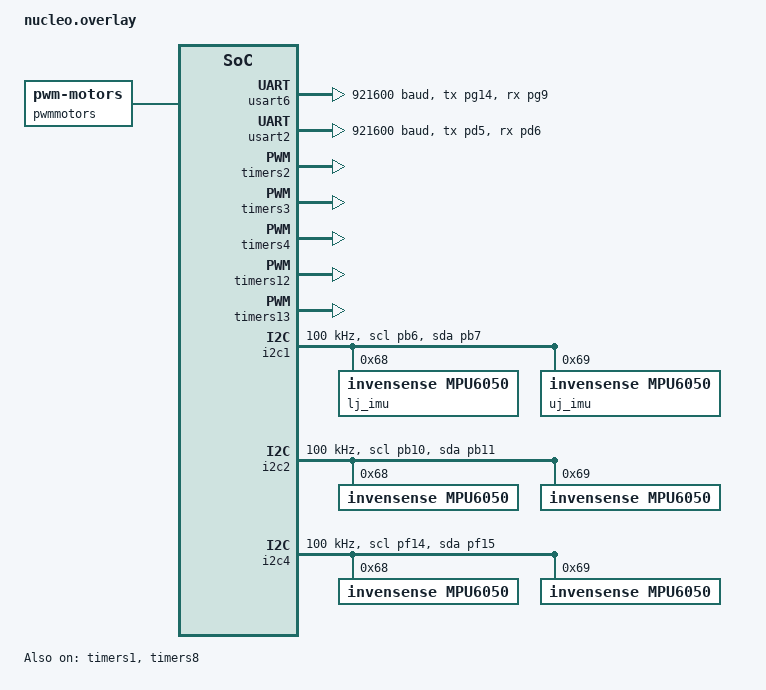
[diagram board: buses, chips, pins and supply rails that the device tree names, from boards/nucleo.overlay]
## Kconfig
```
mainmenu "Mother application"

config TEST_MODE
	bool "Enable test mode"
	default n
	help
	  Enables the test code in mother application.

source "Kconfig.zephyr"
```

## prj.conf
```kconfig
CONFIG_GPIO=y
CONFIG_PRINTK=y
CONFIG_SERIAL=y
CONFIG_I2C=y
CONFIG_SENSOR=y
CONFIG_MPU6050=y
CONFIG_MPU6050_TRIGGER_NONE=y
CONFIG_UART_INTERRUPT_DRIVEN=y
CONFIG_PWM=y
CONFIG_CRC=y

CONFIG_KYVERNITIS=y
CONFIG_CANSCRIBE=y
CONFIG_CANARD=y

CONFIG_CBPRINTF_FP_SUPPORT=y
```

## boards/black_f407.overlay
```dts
/ {
	pwmmotors {
		compatible = "pwm-motors";
		sabertooth1_1: pwm_1 {
			pwms  = <&pwm1 1 PWM_MSEC(20) (PWM_POLARITY_NORMAL)>;
			min-pulse = <PWM_USEC(1100)>;
			max-pulse = <PWM_USEC(1900)>;
		};
		sabertooth1_2: pwm_2 {
			pwms  = <&pwm1 2 PWM_MSEC(20) (PWM_POLARITY_NORMAL)>;
			min-pulse = <PWM_USEC(1100)>;
			max-pulse = <PWM_USEC(1900)>;
		};
		sabertooth3_1: pwm_3 {
			pwms  = <&pwm1 3 PWM_MSEC(20) (PWM_POLARITY_NORMAL)>;
			min-pulse = <PWM_USEC(1100)>;
			max-pulse = <PWM_USEC(1900)>;
		};
		sabertooth3_2: pwm_4 {
			pwms  = <&pwm1 4 PWM_MSEC(20) (PWM_POLARITY_NORMAL)>;
			min-pulse = <PWM_USEC(1100)>;
			max-pulse = <PWM_USEC(1900)>;
		};
		cytron1_1: pwm_5 {
			pwms  = <&pwm2 1 PWM_MSEC(20) (PWM_POLARITY_NORMAL)>;
			min-pulse = <PWM_USEC(1100)>;
			max-pulse = <PWM_USEC(1900)>;
		};
		cytron1_2: pwm_6 {
			pwms  = <&pwm2 2 PWM_MSEC(20) (PWM_POLARITY_NORMAL)>;
			min-pulse = <PWM_USEC(1100)>;
			max-pulse = <PWM_USEC(1900)>;
		};
		cytron3_1: pwm_7 {
			pwms  = <&pwm2 3 PWM_MSEC(20) (PWM_POLARITY_NORMAL)>;
			min-pulse = <PWM_USEC(1100)>;
			max-pulse = <PWM_USEC(1900)>;
		};
		cytron3_2: pwm_8 {
			pwms  = <&pwm2 4 PWM_MSEC(20) (PWM_POLARITY_NORMAL)>;
			min-pulse = <PWM_USEC(1100)>;
			max-pulse = <PWM_USEC(1900)>;
		};
		servo_1: pwm_9 {
			pwms  = <&pwm10 1 PWM_MSEC(20) (PWM_POLARITY_NORMAL)>;
			min-pulse = <PWM_USEC(1100)>;
			max-pulse = <PWM_USEC(1900)>;
		};
		servo_2: pwm_10 {
			pwms  = <&pwm11 1 PWM_MSEC(20) (PWM_POLARITY_NORMAL)>;
			min-pulse = <PWM_USEC(1100)>;
			max-pulse = <PWM_USEC(1900)>;
		};
		servo_3: pwm_11 {
			pwms  = <&pwm14 1 PWM_MSEC(20) (PWM_POLARITY_NORMAL)>;
			min-pulse = <PWM_USEC(1100)>;
			max-pulse = <PWM_USEC(1900)>;
		};
	};

	aliases {
		mother-uart = &usart2;
		en-fr = &qenc_fr;
		en-fl = &qenc_fl;
		imu-lower-joint = &lj_imu;
		imu-upper-joint = &uj_imu;
	};
};

&usart1 {
	current-speed = <115200>;
};

&usart2 {
	pinctrl-0 = <&usart2_tx_pd5 &usart2_rx_pd6>;
	pinctrl-names = "default";
	current-speed = <115200>;
	status = "okay";
};

&timers1 {
	status = "okay";
	st,prescaler = <3359>;

	pwm1: pwm {
		status = "okay";
		pinctrl-0 = <&tim1_ch1_pe9 &tim1_ch2_pe11 &tim1_ch3_pe13 &tim1_ch4_pe14>;
		pinctrl-names = "default";
	};
};

&timers2 {
	status = "okay";
	st,prescaler = <3359>;

	pwm2: pwm {
		status = "okay";
		pinctrl-0 = <&tim2_ch1_pa5 &tim2_ch2_pa1 &tim2_ch3_pa2 &tim2_ch4_pa3>;
		pinctrl-names = "default";
	};
};

&timers10 {
	status = "okay";
	st,prescaler = <3359>;

	pwm10: pwm {
		status = "okay";
		pinctrl-0 = <&tim10_ch1_pb8>;
		pinctrl-names = "default";
	};
};

&timers11 {
	status = "okay";
	st,prescaler = <3359>;

	pwm11: pwm {
		status = "okay";
		pinctrl-0 = <&tim11_ch1_pb9>;
		pinctrl-names = "default";
	};
};

&timers14 {
	status = "okay";
	st,prescaler = <3359>;

	pwm14: pwm {
		status = "okay";
		pinctrl-0 = <&tim14_ch1_pa7>;
		pinctrl-names = "default";
	};
};

&timers3 {
	status = "okay";
	qenc_fr: qdec {
		compatible = "st,stm32-qdec-distance";
		status = "okay";
		pinctrl-0 = <&tim3_ch1_pc6 &tim3_ch2_pc7>;
		pinctrl-names = "default";
		st,input-polarity-inverted;
		st,input-filter-level = <FDIV32_N5>;
		st,counts-per-revolution = <4706>;
	};
};

&timers4 {
	status = "okay";
	qenc_fl: qdec {
		compatible = "st,stm32-qdec-distance";
		status = "okay";
		pinctrl-0 = <&tim4_ch1_pd12 &tim4_ch2_pd13>;
		pinctrl-names = "default";
		st,input-polarity-inverted;
		st,input-filter-level = <FDIV32_N5>;
		st,counts-per-revolution = <4706>;
	};
};

&i2c1 {
	status = "okay";
	pinctrl-0  = <&i2c1_scl_pb6 &i2c1_sda_pb7>;
	pinctrl-names = "default";
	clock-frequency = <I2C_BITRATE_STANDARD>;
	lj_imu: mpu6050@68 {
		compatible = "invensense,mpu6050";
		reg = <0x68>;
		status = "okay";
	};
	uj_imu: mpu6050@69 {
		compatible = "invensense,mpu6050";
		reg = <0x69>;
		status = "okay";
	};
};

&i2c2 {
	status = "okay";
	pinctrl-0  = <&i2c2_scl_pb10 &i2c2_sda_pb11>;
	pinctrl-names = "default";
	clock-frequency = <I2C_BITRATE_STANDARD>;
	mpu6050@68 {
		compatible = "invensense,mpu6050";
		reg = <0x68>;
		status = "okay";
	};
	mpu6050@69 {
		compatible = "invensense,mpu6050";
		reg = <0x69>;
		status = "okay";
	};
};
```

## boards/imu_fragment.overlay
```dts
/ {
	chosen {
		// zephyr,console = &usart2;
		// zephyr,shell-uart = &usart2;
	};

	aliases {
		imu-lower-joint = &mpu6050;
	};
};

// &usart2 {
// 	pinctrl-0 = <&usart2_tx_pd5 &usart2_rx_pd6>;
// 	pinctrl-names = "default";
// 	current-speed = <115200>;
// 	status = "okay";
// };

&i2c1 {
	status = "okay";
	pinctrl-0  = <&i2c1_scl_pb6 &i2c1_sda_pb7>;
	pinctrl-names = "default";
	clock-frequency = <I2C_BITRATE_STANDARD>;
	mpu6050: mpu6050@68 {
		compatible = "invensense,mpu6050";
		reg = <0x68>;
		status = "okay";
	};
};

// &i2c2 {
// 	status = "okay";
// 	pinctrl-0  = <&i2c2_scl_pb10 &i2c2_sda_pb11>;
// 	pinctrl-names = "default";
// 	mpu6050: mpu6050@68 {
// 		compatible = "invensense,mpu6050";
// 		reg = <0x68>;
// 		status = "okay";
// 	};
// 	mpu6050@69 {
// 		compatible = "invensense,mpu6050";
// 		reg = <0x69>;
// 		status = "okay";
// 	};
// };
```

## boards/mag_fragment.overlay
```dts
/ {
	aliases {
		magn0 = &bmm150;
	};
};

&i2c1 {
	status = "okay";
	pinctrl-0 = <&i2c1_scl_pb6 &i2c1_sda_pb7>;
	pinctrl-names = "default";
	clock-frequency = <I2C_BITRATE_STANDARD>;
	bmm150: bmm150@1e {
		status = "okay";
		compatible = "bosch,bmm150";
		reg = <0x1e>;		
	};
};
```

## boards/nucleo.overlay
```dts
#include <zephyr/dt-bindings/sensor/qdec_stm32.h>

/ {
	pwmmotors {
		compatible = "pwm-motors";
		sabertooth1_1: pwm_1 {
			pwms  = <&pwm2 1 PWM_MSEC(20) (PWM_POLARITY_NORMAL)>;
			min-pulse = <PWM_USEC(1100)>;
			max-pulse = <PWM_USEC(1900)>;
		};
		sabertooth1_2: pwm_2 {
			pwms  = <&pwm2 2 PWM_MSEC(20) (PWM_POLARITY_NORMAL)>;
			min-pulse = <PWM_USEC(1100)>;
			max-pulse = <PWM_USEC(1900)>;
		};
		sabertooth3_1: pwm_3 {
			pwms  = <&pwm2 3 PWM_MSEC(20) (PWM_POLARITY_NORMAL)>;
			min-pulse = <PWM_USEC(1100)>;
			max-pulse = <PWM_USEC(1900)>;
		};
		sabertooth3_2: pwm_4 {
			pwms  = <&pwm2 4 PWM_MSEC(20) (PWM_POLARITY_NORMAL)>;
			min-pulse = <PWM_USEC(1100)>;
			max-pulse = <PWM_USEC(1900)>;
		};
		cytron1_1: pwm_5 {
			pwms  = <&pwm3 1 PWM_MSEC(20) (PWM_POLARITY_NORMAL)>;
			min-pulse = <PWM_USEC(1100)>;
			max-pulse = <PWM_USEC(1900)>;
		};
		cytron1_2: pwm_6 {
			pwms  = <&pwm3 2 PWM_MSEC(20) (PWM_POLARITY_NORMAL)>;
			min-pulse = <PWM_USEC(1100)>;
			max-pulse = <PWM_USEC(1900)>;
		};
		cytron3_1: pwm_7 {
			pwms  = <&pwm4 1 PWM_MSEC(20) (PWM_POLARITY_NORMAL)>;
			min-pulse = <PWM_USEC(1100)>;
			max-pulse = <PWM_USEC(1900)>;
		};
		cytron3_2: pwm_8 {
			pwms  = <&pwm4 2 PWM_MSEC(20) (PWM_POLARITY_NORMAL)>;
			min-pulse = <PWM_USEC(1100)>;
			max-pulse = <PWM_USEC(1900)>;
		};
		servo_1: pwm_9 {
			pwms  = <&pwm4 3 PWM_MSEC(20) (PWM_POLARITY_NORMAL)>;
			min-pulse = <PWM_USEC(1100)>;
			max-pulse = <PWM_USEC(1900)>;
		};
		servo_2: pwm_10 {
			pwms  = <&pwm4 4 PWM_MSEC(20) (PWM_POLARITY_NORMAL)>;
			min-pulse = <PWM_USEC(1100)>;
			max-pulse = <PWM_USEC(1900)>;
		};
		servo_3: pwm_11 {
			pwms  = <&pwm12 1 PWM_MSEC(20) (PWM_POLARITY_NORMAL)>;
			min-pulse = <PWM_USEC(1100)>;
			max-pulse = <PWM_USEC(1900)>;
		};

		extra_1: pwm_12 {
			pwms = <&pwm12 2 PWM_MSEC(20)  (PWM_POLARITY_NORMAL)>;
			min-pulse = <PWM_USEC(1100)>;
			max-pulse = <PWM_USEC(1900)>;
		};

		extra_2: pwm_13 {
			pwms = <&pwm13 1 PWM_MSEC(20)  (PWM_POLARITY_NORMAL)>;
			min-pulse = <PWM_USEC(1100)>;
			max-pulse = <PWM_USEC(1900)>;
		};
	};

	chosen {
		zephyr,console = &usart6;
		zephyr,shell-uart = &usart6;
	};

	aliases {
		mother-uart = &usart2;
		en-fr = &qenc_fr;
		en-fl = &qenc_fl;
		imu-lower-joint = &lj_imu;
		imu-upper-joint = &uj_imu;
	};
};

&usart6 {
	pinctrl-0 = <&usart6_tx_pg14 &usart6_rx_pg9>;
	pinctrl-names = "default";
	current-speed = <921600>;
	status = "okay";
};

&usart2 {
	pinctrl-0 = <&usart2_tx_pd5 &usart2_rx_pd6>;
	pinctrl-names = "default";
	current-speed = <921600>;
	status = "okay";
};

&timers2 {
	status = "okay";
	st,prescaler = <5599>;

	pwm2: pwm {
		status = "okay";
		pinctrl-0 = <&tim2_ch1_pa0 &tim2_ch2_pa1 &tim2_ch3_pa2 &tim2_ch4_pa3>;
		pinctrl-names = "default";
	};
};

&timers3 {
	status = "okay";
	st,prescaler = <5599>;

	pwm3: pwm {
		status = "okay";
		pinctrl-0 = <&tim3_ch1_pb4 &tim3_ch2_pb5>;
		pinctrl-names = "default";
	};
};

&timers4 {
	status = "okay";
	st,prescaler = <5599>;

	pwm4: pwm {
		status = "okay";
		pinctrl-0 = <&tim4_ch1_pd12 &tim4_ch2_pd13 &tim4_ch3_pd14 &tim4_ch4_pd15>;
		pinctrl-names = "default";
	};
};

&timers12 {
	status = "okay";
	st,prescaler = <5599>;

	pwm12: pwm {
		status = "okay";
		pinctrl-0 = <&tim12_ch1_pb14 &tim12_ch2_pb15>;
		pinctrl-names = "default";
	};
};

&timers13 {
	status = "okay";
	st,prescaler = <5599>;

	pwm13: pwm {
		status = "okay";
		pinctrl-0 = <&tim13_ch1_pa6>;
		pinctrl-names = "default";
	};
};

&timers1 {
	status = "okay";
	qenc_fr: qdec {
		compatible = "st,stm32-qdec-distance";
		status = "okay";
		pinctrl-0 = <&tim1_ch1_pa8 &tim1_ch2_pa9>;
		pinctrl-names = "default";
		st,input-polarity-inverted;
		st,input-filter-level = <FDIV32_N5>;
		st,counts-per-revolution = <4706>;
	};
};

&timers8 {
	status = "okay";
 	qenc_fl: qdec {
 		compatible = "st,stm32-qdec-distance";
 		status = "okay";
 		pinctrl-0 = <&tim8_ch1_pc6 &tim8_ch2_pc7>;
 		pinctrl-names = "default";
 		st,input-polarity-inverted;
 		st,input-filter-level = <FDIV32_N5>;
 		st,counts-per-revolution = <4706>;
 	};
};


&i2c1 {
	status = "okay";
	pinctrl-0  = <&i2c1_scl_pb6 &i2c1_sda_pb7>;
	pinctrl-names = "default";
	clock-frequency = <I2C_BITRATE_STANDARD>;
	lj_imu: mpu6050@68 {
		compatible = "invensense,mpu6050";
		reg = <0x68>;
		status = "okay";
	};
	uj_imu: mpu6050@69 {
		compatible = "invensense,mpu6050";
		reg = <0x69>;
		status = "okay";
	};
};

&i2c2 {
	status = "okay";
	pinctrl-0  = <&i2c2_scl_pb10 &i2c2_sda_pb11>;
	pinctrl-names = "default";
	clock-frequency = <I2C_BITRATE_STANDARD>;
	mpu6050@68 {
		compatible = "invensense,mpu6050";
		reg = <0x68>;
		status = "okay";
	};
	mpu6050@69 {
		compatible = "invensense,mpu6050";
		reg = <0x69>;
		status = "okay";
	};
};

&i2c4 {
	status = "okay";
	pinctrl-0  = <&i2c4_scl_pf14 &i2c4_sda_pf15>;
	pinctrl-names = "default";
	clock-frequency = <I2C_BITRATE_STANDARD>;
	mpu6050@68 {
		compatible = "invensense,mpu6050";
		reg = <0x68>;
		status = "okay";
	};
	mpu6050@69 {
		compatible = "invensense,mpu6050";
		reg = <0x69>;
		status = "okay";
	};
};
```

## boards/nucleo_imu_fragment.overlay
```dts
/ {
	chosen {
		zephyr,console = &usart2;
		zephyr,shell-uart = &usart2;
	};
	
	aliases {
		imu-lower-joint = &mpu6050;
	};
};

&usart2 {
	pinctrl-0 = <&usart2_tx_pd5 &usart2_rx_pd6>;
	pinctrl-names = "default";
	current-speed = <921600>;
	status = "okay";
};

&i2c1 {
	status = "okay";
	pinctrl-0  = <&i2c1_scl_pb6 &i2c1_sda_pb7>;
	pinctrl-names = "default";
	clock-frequency = <I2C_BITRATE_STANDARD>;
	lj_imu: mpu6050@68 {
		compatible = "invensense,mpu6050";
		reg = <0x68>;
		status = "okay";
	};
	uj_imu: mpu6050@69 {
		compatible = "invensense,mpu6050";
		reg = <0x69>;
		status = "okay";
	};
};


&i2c2 {
	status = "okay";
	pinctrl-0  = <&i2c2_scl_pb10 &i2c2_sda_pb11>;
	pinctrl-names = "default";
	clock-frequency = <I2C_BITRATE_STANDARD>;
	mpu6050@68 {
		compatible = "invensense,mpu6050";
		reg = <0x68>;
		status = "okay";
	};
	mpu6050@69 {
		compatible = "invensense,mpu6050";
		reg = <0x69>;
		status = "okay";
	};
};

&i2c4 {
	status = "okay";
	pinctrl-0  = <&i2c4_scl_pf14 &i2c4_sda_pf15>;
	pinctrl-names = "default";
	clock-frequency = <I2C_BITRATE_STANDARD>;
	mpu6050: mpu6050@68 {
		compatible = "invensense,mpu6050";
		reg = <0x68>;
		status = "okay";
	};
};
```

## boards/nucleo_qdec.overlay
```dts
#include <zephyr/dt-bindings/sensor/qdec_stm32.h>

/ {
	pwmmotors {
		compatible = "pwm-motors";
		pwm_motor_1: pwm_1 {
			pwms  = <&pwm2 1 PWM_MSEC(20) (PWM_POLARITY_NORMAL)>;
			min-pulse = <PWM_USEC(1100)>;
			max-pulse = <PWM_USEC(1900)>;
		};
		pwm_motor_2: pwm_2 {
			pwms  = <&pwm2 2 PWM_MSEC(20) (PWM_POLARITY_NORMAL)>;
			min-pulse = <PWM_USEC(1100)>;
			max-pulse = <PWM_USEC(1900)>;
		};
	};

	chosen {
		zephyr,console = &usart2;
		zephyr,shell-uart = &usart2;
	};

	aliases {
		en-fr = &qenc_fr;
		en-fl = &qenc_fl;
	};
};

&usart2 {
	pinctrl-0 = <&usart2_tx_pd5 &usart2_rx_pd6>;
	pinctrl-names = "default";
	current-speed = <921600>;
	status = "okay";
};

&timers2 {
	status = "okay";
	st,prescaler = <5599>;

	pwm2: pwm {
		status = "okay";
		pinctrl-0 = <&tim2_ch1_pa0 &tim2_ch2_pa1 &tim2_ch3_pa2 &tim2_ch4_pa3>;
		pinctrl-names = "default";
	};
};

&timers1 {
	status = "okay";
	qenc_fr: qdec {
		compatible = "st,stm32-qdec-distance";
		status = "okay";
		pinctrl-0 = <&tim1_ch1_pa8 &tim1_ch2_pa9>;
		pinctrl-names = "default";
		st,input-polarity-inverted;
		st,input-filter-level = <FDIV32_N5>; // FDIV32_N5
		st,counts-per-revolution = <4706>;
	};
};

&timers8 {
	status = "okay";
 	qenc_fl: qdec {
 		compatible = "st,stm32-qdec-distance";
 		status = "okay";
 		pinctrl-0 = <&tim8_ch1_pc6 &tim8_ch2_pc7>;
 		pinctrl-names = "default";
 		st,input-polarity-inverted;
 		st,input-filter-level = <FDIV32_N5>;
 		st,counts-per-revolution = <4706>;
 	};
};
```

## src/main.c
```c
/*
 * Source file for R25
 */

#include <zephyr/sys/reboot.h>
#include <zephyr/kernel.h>
#include <zephyr/device.h>
#include <zephyr/devicetree.h>
#include <zephyr/drivers/gpio.h>
#include <zephyr/drivers/sensor.h>
#include <zephyr/sys/crc.h>
#include <zephyr/drivers/uart.h>
#include <app_version.h>
#include <string.h>
#include <canscribe/lib/canscribe.h>
#include <kyvernitis/lib/kyvernitis.h>

/* msg size in relation to cobs serialization */
#define UART_MSG_SIZE (sizeof(struct mother_msg) + 2)

#define PWM_MOTOR_SETUP(pwm_dev_id)                                                                \
	{.dev_spec = PWM_DT_SPEC_GET(pwm_dev_id),                                                  \
	 .min_pulse = DT_PROP(pwm_dev_id, min_pulse),                                              \
	 .max_pulse = DT_PROP(pwm_dev_id, max_pulse)},

/* queue to store uart messages */
K_MSGQ_DEFINE(uart_msgq, sizeof(struct mother_msg), 10, 1);

/* DT spec for uart */
static const struct device *const uart_dev = DEVICE_DT_GET(DT_ALIAS(mother_uart));

/* DT spec for pwm motors */
struct pwm_motor motor[13] = {DT_FOREACH_CHILD(DT_PATH(pwmmotors), PWM_MOTOR_SETUP)};

/* DT spec for encoders */
const struct device *const encoder_fr = DEVICE_DT_GET(DT_ALIAS(en_fr));
const struct device *const encoder_fl = DEVICE_DT_GET(DT_ALIAS(en_fl));

/* DT spec for imus */
const struct device *const lj_imu = DEVICE_DT_GET(DT_ALIAS(imu_lower_joint));
const struct device *const uj_imu = DEVICE_DT_GET(DT_ALIAS(imu_upper_joint));
/* DT spec for LED */
static const struct gpio_dt_spec led = GPIO_DT_SPEC_GET(DT_ALIAS(led0), gpios);

/*---- Global Values and configuration ----*/

/* Timeout message for diff drive */
struct DiffDriveTwist TIMEOUT_CMD = {
	.angular_z = 0,
	.linear_x = 0,
};

/* Velocity and PWM ranges */
float vel_range[] = {-10, 10};
uint32_t pwm_range[] = {1120000, 1880000};
float la_speed_range[] = {0.0, 255.0};
uint32_t pid_pwm_range[] = {1300000, 1700000};
float angle_range[] = {-270, 270};

/* Serial Callback global variables */
static uint8_t rx_buf[UART_MSG_SIZE];
static int rx_buf_pos;
static uint8_t tx_buf[UART_MSG_SIZE];

/* Global ticks for encoders */
int64_t ticks_fr, ticks_fl;
struct mother_msg msg;

void serial_cb(const struct device *dev, void *user_data)
{
	uint8_t c;

	if (!uart_irq_update(uart_dev)) {
		return;
	}

	if (!uart_irq_rx_ready(uart_dev)) {
		return;
	}

	/* read until FIFO empty */
	while (uart_fifo_read(uart_dev, &c, 1) == 1) {
		struct mother_msg msg;

		if (c == 0x00 && rx_buf_pos > 0) {
			// uart_fifo_read(uart_dev, &c, 1);
			/* terminate the message with 0x00 */
			rx_buf[rx_buf_pos] = 0;

			if (rx_buf_pos != (sizeof(struct mother_msg) + 2 - 1)) {
				rx_buf_pos = 0;
				continue;
			}
			// Add deserialization guard
			deserialize(rx_buf, (uint8_t *)&msg, sizeof(msg));

			/* if queue is full, message is silently dropped */
			k_msgq_put(&uart_msgq, &msg, K_NO_WAIT);

			/* reset the buffer (it was copied to the msgq) */
			rx_buf_pos = 0;
		} else if (rx_buf_pos < (sizeof(rx_buf) - 1)) {
			rx_buf[rx_buf_pos++] = c;
		}

		if (rx_buf_pos > sizeof(struct mother_msg) + 2) {
			rx_buf_pos = 0;
			continue;
		}
	}
}

/*
 * Sends raw bytes to uart_dev
 */

void send_to_uart(uint8_t *buf, uint8_t len)
{
	for (int i = 0; i < len; i++) {
		uart_poll_out(uart_dev, buf[i]);
	}
}

/* Sends log to mother-uart */
void log_uart(enum MotherMsgType type, const char *fmt, ...)
{

	va_list args;
	va_start(args, fmt);

	struct mother_msg log;
	log.type = type;
	vsprintf(log.info, fmt, args);
	va_end(args);
	log.crc = crc32_ieee((uint8_t *)&log, sizeof(struct mother_msg) - sizeof(uint32_t));
	serialize(tx_buf, (uint8_t *)&log, sizeof(struct mother_msg));
	send_to_uart(tx_buf, UART_MSG_SIZE);
}

/*
 * Validates against crc
 * Returns 1 on success
 */
int valid_crc(struct mother_msg *msg)
{
	uint32_t rcd_crc = msg->crc;
	uint32_t comp_crc =
		crc32_ieee((uint8_t *)msg, sizeof(struct mother_msg) - sizeof(uint32_t));

	if (rcd_crc != comp_crc) {
		return 0;
	}

	return 1;
}

/*
 * Position feedback callback function
 * Returns 0 on success
 */

int feedback_callback(float *feedback_buffer, int buffer_len, int wheels_per_side)
{
	struct sensor_value fr_val, fl_val;
	get_encoder_ticks(&ticks_fr, encoder_fr, &fr_val);
	get_encoder_ticks(&ticks_fl, encoder_fl, &fl_val);

	if (buffer_len < wheels_per_side * 2) {
		return 1;
	}

	for (int i = 0; i < wheels_per_side; i++) {
		feedback_buffer[i] = (float)ticks_fl / 4706 * 2 * 3.141592f;
		feedback_buffer[wheels_per_side + i] = (float)ticks_fr / 4706 * 2 * 3.141592f;
	}
	return 0;
}

/*
 * Velocity callback function
 * Returns 0 on success
 */

int velocity_callback(const float *velocity_buffer, int buffer_len, int wheels_per_side)
{

	if (buffer_len < wheels_per_side * 2) {
		return 1;
	}

	const int i = 0;
	if (pwm_motor_write(&(motor[i]), velocity_pwm_interpolation(*(velocity_buffer + i),
								    vel_range, pwm_range))) {
		log_uart(T_MOTHER_ERROR, "Drive: Unable to write pwm pulse to Left : %d", i);
		return 1;
	}
	if (pwm_motor_write(&(motor[i + 1]),
			    velocity_pwm_interpolation(*(velocity_buffer + wheels_per_side + i),
						       vel_range, pwm_range))) {
		log_uart(T_MOTHER_ERROR, "Drive: Unable to write pwm pulse to Right : %d", i);
		return 1;
	}
	return 0;
}

int main()
{
	log_uart(T_MOTHER_INFO, "Mother: v%s", APP_VERSION_STRING);

	int err;

	struct DiffDriveConfig drive_config = {
		.wheel_separation = 0.77f,
		.wheel_separation_multiplier = 1,
		.wheel_radius = 0.15f,
		.wheels_per_side = 2,
		.command_timeout_seconds = 2,
		.left_wheel_radius_multiplier = 1,
		.right_wheel_radius_multiplier = 1,
		.update_type = POSITION_FEEDBACK,
	};

	struct ArmJointStatus upper_joint = {.desired_angle = -45,
					     .pid.Kp = 2.5,
					     .pid.Ki = 0.25,
					     .pid.Kd = 2,
					     .pid.previous_error = 0,
					     .pid.derivative = 0,
					     .pid.integral = 0};
	struct ArmJointStatus lower_joint = {.desired_angle = 40,
					     .pid.Kp = 1.8,
					     .pid.Ki = 0.15,
					     .pid.Kd = 0.4,
					     .pid.previous_error = 0,
					     .pid.derivative = 0,
					     .pid.integral = 0};

	uint64_t time_last_drive_update = 0;
	uint64_t drive_timestamp = 0;
	uint64_t curr_status_stamp = 0;

	/* Device ready checks */

	if (!device_is_ready(uart_dev)) {
		log_uart(T_MOTHER_ERROR, "UART device not ready");
	}

	for (size_t i = 0U; i < ARRAY_SIZE(motor); i++) {
		if (!pwm_is_ready_dt(&(motor[i].dev_spec))) {
			log_uart(T_MOTHER_ERROR, "PWM: Motor %s is not ready",
				 motor[i].dev_spec.dev->name);
		}
	}
	if (!device_is_ready(encoder_fl)) {
		log_uart(T_MOTHER_ERROR, "Encoder Front Left not ready");
	}
	if (!device_is_ready(encoder_fr)) {
		log_uart(T_MOTHER_ERROR, "Encoder Front Right not ready");
	}

	// if (!device_is_ready(lj_imu)) {
	// 	log_uart(T_MOTHER_ERROR, "IMU Lower Joint not ready");
	// }

	// if (!device_is_ready(uj_imu)) {
	// 	log_uart(T_MOTHER_ERROR, "IMU Upper Joint not ready");
	// }

	if (!gpio_is_ready_dt(&led)) {
		log_uart(T_MOTHER_ERROR, "Led not ready");
	}

	/* Calibrate and Configure devices */

	err = uart_irq_callback_user_data_set(uart_dev, serial_cb, NULL);

	if (err < 0) {
		if (err == -ENOTSUP) {
			log_uart(T_MOTHER_ERROR, "Interrupt-driven UART API support not enabled");
		} else if (err == -ENOSYS) {
			log_uart(T_MOTHER_ERROR,
				 "UART device does not support interrupt-driven API");
		} else {
			log_uart(T_MOTHER_ERROR, "Error setting UART callback: %d", err);
		}
	}
	uart_irq_rx_enable(uart_dev);

	for (size_t i = 0U; i < ARRAY_SIZE(motor); i++) {
		if (pwm_motor_write(&(motor[i]), 1500000)) {
			printk("Unable to write pwm pulse to PWM Motor : %d", i);
		}
	}

	// err = calibrate_imu(lj_imu, &lower_joint);
	// if (err < 0) {
	// 	log_uart(T_MOTHER_ERROR, "Lower Joint IMU calibration failed");
	// }

	// err = calibrate_imu(uj_imu, &upper_joint);
	// if(err < 0) {
	// 	log_uart(T_MOTHER_ERROR, "Upper Joint IMU calibration failed");
	// }

	if (gpio_pin_configure_dt(&led, GPIO_OUTPUT_ACTIVE) < 0) {
		log_uart(T_MOTHER_ERROR, "Led not configured");
	}

	struct DiffDrive *drive =
		diffdrive_init(&drive_config, feedback_callback, velocity_callback);

	log_uart(T_MOTHER_INFO, "Initialization completed successfully");

	while (true) {

		// err = update_pid(lj_imu, &lower_joint);
		// if ( (lower_joint.angle < 9 && lower_joint.pid.pid_change < 0) ||
		// (lower_joint.angle> 45 && lower_joint.pid.pid_change > 0)) {
		// 	pwm_motor_write(&(motor[6]),PWM_MOTOR_STOP);
		// }
		// else if (err == 0) {
		// 	pwm_motor_write(&(motor[6]), pid_pwm_interp(lower_joint.pid.pid_change,
		// angle_range, pid_pwm_range));
		// }

		// err += update_pid(uj_imu, &upper_joint);
		// float transform_upper_lower = 180 - lower_joint.angle + upper_joint.angle;
		// if ((transform_upper_lower< 85 && upper_joint.pid.pid_change < 0) ||
		// (transform_upper_lower > 105 && upper_joint.pid.pid_change > 0)) {
		// 	pwm_motor_write(&(motor[7]),PWM_MOTOR_STOP);
		// }
		// else if (err == 0) {
		// 	pwm_motor_write(&(motor[7]), pid_pwm_interp(upper_joint.pid.pid_change,
		// angle_range, pid_pwm_range));
		// 	// log_uart(T_MOTHER_INFO, "PWM [%u] to motor 7",
		// pid_pwm_interp(upper_joint.pid.pid_change, angle_range, pid_pwm_range));
		// }
		/* Send status every 1 ms*/
		if (k_uptime_get() - curr_status_stamp > 10) {
			struct DiffDriveStatus ds = diffdrive_status(drive);
			struct mother_status_msg s_msg = {
				.odom = ds,
				.arm_joint_status = {0.0f, lower_joint.angle, upper_joint.angle},
				.timestamp = k_uptime_get()};
			struct mother_msg status_msg = {.type = T_MOTHER_STATUS, .status = s_msg};
			uint32_t crc = crc32_ieee((uint8_t *)&status_msg,
						  sizeof(struct mother_msg) - sizeof(uint32_t));
			status_msg.crc = crc;

			serialize(tx_buf, (uint8_t *)&status_msg, sizeof(struct mother_msg));
			send_to_uart(tx_buf, UART_MSG_SIZE);

			if (err < 0) {
				log_uart(T_MOTHER_ERROR, "Sample fetch/get failed in IMU");
			}

			curr_status_stamp = k_uptime_get();
		}
#ifdef CONFIG_TEST_MODE
		if (k_msgq_get(&uart_msgq, &msg, K_MSEC(4))) {
#else
		if (k_msgq_get(&uart_msgq, &msg, K_MSEC(1000))) {
#endif
			/* Send stop to all */
				log_uart(T_MOTHER_INFO, "Message Timeout");
				drive_timestamp = k_uptime_get();
				err = diffdrive_update(drive, TIMEOUT_CMD, drive_timestamp);
				time_last_drive_update = k_uptime_get() - drive_timestamp;

				if (err) {
					log_uart(T_MOTHER_ERROR, "Diffdrive Update Failure");
				}

				for (size_t i = 2; i < 6; i++) {
					pwm_motor_write(&(motor[i]), PWM_MOTOR_STOP);
				}
				for (size_t i = 8; i < ARRAY_SIZE(motor); i++) {
					pwm_motor_write(&(motor[i]), PWM_MOTOR_STOP);
				}

			continue;
		}
		if (!valid_crc(&msg)) {
			log_uart(T_MOTHER_ERROR, "Invalid CRC");
			continue;
		}

		switch (msg.type) {
		case T_MOTHER_CMD_DRIVE:
			drive_timestamp = k_uptime_get();
			err = diffdrive_update(drive, msg.cmd.drive_cmd, time_last_drive_update);
			time_last_drive_update = k_uptime_get() - drive_timestamp;

			if (err) {
				log_uart(T_MOTHER_ERROR, "Diffdrive Update Failue");
			}
			break;
		
		case T_MOTHER_CMD_ARM:
			lower_joint.desired_angle = msg.cmd.arm_joint[1];
			upper_joint.desired_angle = msg.cmd.arm_joint[2];
			break;
		
		case T_MOTHER_CMD_LA:
			for (int i = 0; i < 2; i++) {
				pwm_motor_write(&(motor[4 + i]), velocity_pwm_interpolation((float)msg.cmd.adaptive_sus_cmd[i], la_speed_range, pwm_range));
			}
			break;

		case T_MOTHER_RESET:
			sys_reboot(SYS_REBOOT_WARM);
			break;
		}

		gpio_pin_toggle_dt(&led);
	}
}
```

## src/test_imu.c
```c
#include <zephyr/kernel.h>
#include <zephyr/device.h>
#include <zephyr/drivers/sensor.h>
#include <math.h>
#include <stdio.h>

#define M_PI 3.14159265358979323846

static const char *now_str(void)
{
	static char buf[16]; /* ...HH:MM:SS.MMM */
	uint32_t now = k_uptime_get_32();
	unsigned int ms = now % MSEC_PER_SEC;
	unsigned int s;
	unsigned int min;
	unsigned int h;

	now /= MSEC_PER_SEC;
	s = now % 60U;
	now /= 60U;
	min = now % 60U;
	now /= 60U;
	h = now;

	snprintf(buf, sizeof(buf), "%u:%02u:%02u.%03u",
		 h, min, s, ms);
	return buf;
}


uint64_t prev_time = 0;
struct joint {
	float accel[3];
	float gyro[3];
	float pitch;
};

float pitch_gyro = 0;
float gyroOffset = 0;
float alpha = 0.96;
static int process_mpu6050(const struct device *dev, struct joint *joint)
{
	uint64_t current_time = k_uptime_get();
	float dt = (current_time - prev_time)/ 1000.0;
	prev_time = current_time;

	struct sensor_value accel[3];
	struct sensor_value gyro[3];
	int rc = sensor_sample_fetch(dev);

	if (rc == 0) {
		rc = sensor_channel_get(dev, SENSOR_CHAN_ACCEL_XYZ,
					accel);
	}
	if (rc == 0) {
		rc = sensor_channel_get(dev, SENSOR_CHAN_GYRO_XYZ,
					gyro);
	}
	
	for(int i = 0; i < 3; i++) {
		joint->accel[i] = sensor_value_to_double(&accel[i]);
		joint->gyro[i] = sensor_value_to_double(&gyro[i]);
	};	

	float pitch_accel = (180 * atan2(-1*joint->accel[0], sqrt(pow(joint->accel[1],2) + pow(joint->accel[2],2)))/M_PI);

	joint->pitch = alpha * (joint->pitch + (joint->gyro[1] - gyroOffset)*dt) + (1 - alpha) * pitch_accel;

	if (rc == 0) {
		// printf("[%s]: "
		//        "  accel %f %f %f m/s/s\n"
		//        "  gyro  %f %f %f rad/s\n"
		//        "  pitch %f degrees\n",
		//        now_str(),
		//        sensor_value_to_double(&accel[0]),
		//        sensor_value_to_double(&accel[1]),
		//        sensor_value_to_double(&accel[2]),
		//        sensor_value_to_double(&gyro[0]),
		//        sensor_value_to_double(&gyro[1]),
		//        sensor_value_to_double(&gyro[2]),
		//        joint.pitch);
		printf("[%s]: %f\n", now_str(), joint->pitch );

	} else {
		printf("sample fetch/get failed: %d\n", rc);
	}

	return rc;
}


int main(void)
{
	const struct device *const mpu6050 = DEVICE_DT_GET(DT_ALIAS(imu_lower_joint));

	if (!device_is_ready(mpu6050)) {
		printf("Device %s is not ready\n", mpu6050->name);
		return 0;
	}
	struct sensor_value gyro[3], accel[3];

	for (int i = 0; i < 1000; i++) {
		int rc = sensor_sample_fetch(mpu6050);

		rc = sensor_channel_get(mpu6050, SENSOR_CHAN_GYRO_XYZ,
					gyro);

		gyroOffset += sensor_value_to_double(&gyro[1]);
		k_sleep(K_MSEC(10));
	}

	gyroOffset /= 1000;

	int rc = sensor_sample_fetch(mpu6050);
	rc = sensor_channel_get(mpu6050, SENSOR_CHAN_ACCEL_XYZ, accel);
	struct joint joint = {
		.accel[0] = sensor_value_to_double(&accel[0]),
		.accel[1] = sensor_value_to_double(&accel[1]),
		.accel[2] = sensor_value_to_double(&accel[2])
	};
	joint.pitch = (180 * atan2(-1*joint.accel[0], sqrt(pow(joint.accel[1],2) + pow(joint.accel[2],2)))/M_PI);
;
	while (1) {
		int rc = process_mpu6050(mpu6050, &joint);

		if (rc != 0) {
			break;
		}
		k_sleep(K_MSEC(4));
	}

	/* triggered runs with its own thread after exit */
	return 0;
}
```

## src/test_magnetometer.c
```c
/*
 * Copyright (c) 2016 Intel Corporation
 *
 * SPDX-License-Identifier: Apache-2.0
 */

#include <zephyr/kernel.h>
#include <zephyr/device.h>
#include <zephyr/drivers/sensor.h>
#include <zephyr/sys/printk.h>
#include <math.h>
#include <stdio.h>

int main(void)
{
	const struct device *const dev = DEVICE_DT_GET(DT_ALIAS(magn0));
	struct sensor_value value_x, value_y, value_z;
	int ret;

	if (!device_is_ready(dev)) {
		printk("sensor: device not ready.\n");
		return 0;
	}

	printk("Polling magnetometer data from %s.\n", dev->name);

	while (1) {
		ret = sensor_sample_fetch(dev);
		if (ret) {
			printk("sensor_sample_fetch failed ret %d\n", ret);
			return 0;
		}

		ret = sensor_channel_get(dev, SENSOR_CHAN_MAGN_X, &value_x);
		ret = sensor_channel_get(dev, SENSOR_CHAN_MAGN_Y, &value_y);
		ret = sensor_channel_get(dev, SENSOR_CHAN_MAGN_Z, &value_z);
		printf("( x y z ) = ( %f  %f  %f ), angle = %f\n",
		       sensor_value_to_double(&value_x),
		       sensor_value_to_double(&value_y),
		       sensor_value_to_double(&value_z),
			atan2(sensor_value_to_double(&value_y), sensor_value_to_double(&value_x))*180/3.1415926f);

		k_sleep(K_MSEC(50));
	}
	return 0;
}
```

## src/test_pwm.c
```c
/*
 * Test file for checking pwm pins
 */

#include "zephyr/sys/printk.h"
#include <zephyr/device.h>
#include <zephyr/devicetree.h>
#include <zephyr/drivers/gpio.h>
#include <zephyr/drivers/pwm.h>
#include <zephyr/kernel.h>

#include <kyvernitis/lib/kyvernitis.h>

#define PWM_MOTOR_SETUP(pwm_dev_id)                                                                \
	{.dev_spec = PWM_DT_SPEC_GET(pwm_dev_id),                                                  \
	 .min_pulse = DT_PROP(pwm_dev_id, min_pulse),                                              \
	 .max_pulse = DT_PROP(pwm_dev_id, max_pulse)},
struct pwm_motor roboclaw[13] = {DT_FOREACH_CHILD(DT_PATH(pwmmotors), PWM_MOTOR_SETUP)};

static const struct gpio_dt_spec led = GPIO_DT_SPEC_GET(DT_ALIAS(led0), gpios);

int main()
{
	printk("Test: PWM\n\n");

	if (!gpio_is_ready_dt(&led)){
		printk("Error: Led not ready\n");
	}

	for (size_t i = 0U; i < ARRAY_SIZE(roboclaw); i++) {
		if (!pwm_is_ready_dt(&(roboclaw[i].dev_spec))) {
			printk("PWM: Roboclaw %s is not ready\n", roboclaw[i].dev_spec.dev->name);
			return 0;
		}
	}

	for(size_t i = 0U; i < ARRAY_SIZE(roboclaw); i++) {
		if(pwm_motor_write(&(roboclaw[i]),1500000)) {
			printk("Unable to write pwm pulse to PWM Motor : %d", i);
		}
	}

	if (gpio_pin_configure_dt(&led, GPIO_OUTPUT_ACTIVE) < 0)
	{
		printk("Error: Led not configured\n");
		return 0;
	}

	printk("Successfully initialized all pins\n");
	
	while (1) {
		for(size_t i = 0U; i < ARRAY_SIZE(roboclaw); i++) {
			for(uint32_t pulse = 1100000; pulse < 1900000; pulse += 100000)
			{
				if(pwm_motor_write(&roboclaw[i], pulse)) {
					printk("Unable to write pwm pulse to PWM Motor : %d", i);
					return 0;
				}
				printk("Writing [%u] to PWM %d\n", pulse, i);
				k_sleep(K_MSEC(300));
			}
			for(uint32_t pulse = 1900000; pulse > 1100000; pulse -= 100000)
			{
				if(pwm_motor_write(&roboclaw[i], pulse)) {
					printk("Unable to write pwm pulse to PWM Motor : %d", i);
					return 0;
				}
				printk("Writing [%u] to PWM %d\n", pulse, i);
				k_sleep(K_MSEC(300));
			}
			// if(pwm_motor_write(&roboclaw[i], 1100000)) {
			// 		printk("Unable to write pwm pulse to PWM Motor : %d", i);
			// 		return 0;
			// }
		}
	}
}
```

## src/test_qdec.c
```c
/*
 * Copyright (c) 2022 Valerio Setti <valerio.setti@gmail.com>
 *
 * SPDX-License-Identifier: Apache-2.0
 */

#include <zephyr/drivers/gpio.h>
#include <zephyr/drivers/pwm.h>
#include <zephyr/kernel.h>
#include <zephyr/device.h>
#include <zephyr/drivers/sensor.h>
#include <zephyr/sys/printk.h>

#include <kyvernitis/lib/kyvernitis.h>
#include <zephyr/drivers/gpio.h>
#define PWM_MOTOR_SETUP(pwm_dev_id)                                                                \
	{.dev_spec = PWM_DT_SPEC_GET(pwm_dev_id),                                                  \
	 .min_pulse = DT_PROP(pwm_dev_id, min_pulse),                                              \
	 .max_pulse = DT_PROP(pwm_dev_id, max_pulse)},
struct pwm_motor roboclaw[2] = {DT_FOREACH_CHILD(DT_PATH(pwmmotors), PWM_MOTOR_SETUP)};
static const struct gpio_dt_spec led_1 = GPIO_DT_SPEC_GET(DT_ALIAS(led0), gpios);

#define QUAD_ENC_EMUL_ENABLED \
	DT_NODE_EXISTS(DT_ALIAS(qenca)) && DT_NODE_EXISTS(DT_ALIAS(qencb))

#if QUAD_ENC_EMUL_ENABLED


#define QUAD_ENC_EMUL_PERIOD 100


static const struct gpio_dt_spec phase_a =
			GPIO_DT_SPEC_GET(DT_ALIAS(qenca), gpios);
static const struct gpio_dt_spec phase_b =
			GPIO_DT_SPEC_GET(DT_ALIAS(qencb), gpios);
static bool toggle_a;

void qenc_emulate_work_handler(struct k_work *work)
{
	toggle_a = !toggle_a;
	if (toggle_a) {
		gpio_pin_toggle_dt(&phase_a);
	} else {
		gpio_pin_toggle_dt(&phase_b);
	}
}

static K_WORK_DEFINE(qenc_emulate_work, qenc_emulate_work_handler);

static void qenc_emulate_timer_handler(struct k_timer *dummy)
{
	k_work_submit(&qenc_emulate_work);
}

static K_TIMER_DEFINE(qenc_emulate_timer, qenc_emulate_timer_handler, NULL);

static void qenc_emulate_init(void)
{
	printk("Quadrature encoder emulator enabled with %u ms period\n",
		QUAD_ENC_EMUL_PERIOD);

	if (!gpio_is_ready_dt(&phase_a)) {
		printk("%s: device not ready.", phase_a.port->name);
		return;
	}
	gpio_pin_configure_dt(&phase_a, GPIO_OUTPUT);

	if (!gpio_is_ready_dt(&phase_b)) {
		printk("%s: device not ready.", phase_b.port->name);
		return;
	}
	gpio_pin_configure_dt(&phase_b, GPIO_OUTPUT);

	k_timer_start(&qenc_emulate_timer, K_MSEC(QUAD_ENC_EMUL_PERIOD / 2),
			K_MSEC(QUAD_ENC_EMUL_PERIOD / 2));
}

#else

static void qenc_emulate_init(void) { };

#endif /* QUAD_ENC_EMUL_ENABLED */

int get_ticks(int64_t *ticks, const struct device *const dev, struct sensor_value *val) {
	int rc;
	rc = sensor_sample_fetch(dev);
	if (rc != 0) {
		printk("Failed to fetch sample (%d)\n", rc);
		return 0;
	}

	rc = sensor_channel_get(dev, SENSOR_CHAN_ALL, val);
	if (rc != 0) {
		printk("Failed to get data (%d)\n", rc);
		return 0;
	}
	
	*ticks = val->val1 * pow(10,6) + val->val2;
	return 0;
}

int main(void)
{
	struct sensor_value val;
	const struct device *const en_fr = DEVICE_DT_GET(DT_ALIAS(en_fr));
	const struct device *const en_fl = DEVICE_DT_GET(DT_ALIAS(en_fl));


	if (!device_is_ready(en_fr)) {
		printk("Qdec Front-Right device is not ready\n");
		return 0;
	}
	if (!device_is_ready(en_fl)) {
		printk("Qdec Front-Left device is not ready\n");
		return 0;
	}

	if (!gpio_is_ready_dt(&led_1)) {
		printk("Error: Led not ready.");
		return 0;
	}
	if (gpio_pin_configure_dt(&led_1, GPIO_OUTPUT_ACTIVE) < 0) {
		printk("Error: Led not configured");
		return 0;
	}
	printk("Quadrature decoder sensor test\n");

	for (size_t i = 0U; i < ARRAY_SIZE(roboclaw); i++) {
		if (!pwm_is_ready_dt(&(roboclaw[i].dev_spec))) {
			printk("PWM: Roboclaw %s is not ready\n", roboclaw[i].dev_spec.dev->name);
			return 0;
		}
	}
	qenc_emulate_init();
	int64_t ticks;
	uint64_t timestamp = 0;
	
	int pulse = 1900000;
	if(pwm_motor_write(&roboclaw[0], pulse)) {
		printk("Unable to write pwm pulse to PWM Motor : %d", 0);
		return 0;
	}

	if(pwm_motor_write(&roboclaw[1], pulse)) {
		printk("Unable to write pwm pulse to PWM Motor : %d", 1);
		return 0;
	}

	while (true) {
		get_ticks(&ticks, en_fr, &val);	
		printk("Front-Right: %lld \n", ticks);
		get_ticks(&ticks, en_fl, &val);	
		printk("Front-Left: %lld \n", ticks);



		if(k_uptime_get() - timestamp > 12000) {
			if(pwm_motor_write(&roboclaw[0], 1500000)) {
				printk("Unable to write pwm pulse to PWM Motor : %d", 0);
				return 0;
			}

			if(pwm_motor_write(&roboclaw[1], 1500000)) {
				printk("Unable to write pwm pulse to PWM Motor : %d", 1);
				return 0;
			}
			timestamp = k_uptime_get();
		}

		gpio_pin_toggle_dt(&led_1);
		k_msleep(1000);
	}
	return 0;
}
```

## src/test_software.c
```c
#include "zephyr/kernel.h"
#include <kyvernitis/lib/drive.h>
#include <math.h>
#include <stdio.h>
#include <string.h>
int v = 0;
int feedback_callback(float *feedback_buffer, int buffer_len, int wheels_per_side)
{
  if (buffer_len < wheels_per_side*2) return 1;
	for (int i = 0; i < wheels_per_side; i++) {
	  feedback_buffer[i] = v*100;
	  feedback_buffer[wheels_per_side + i] = v*100;
	}
	v++;
	return 0;
}
int velocity_callback(const float *velocity_buffer, int buffer_len, int wheels_per_side)
{
  if (buffer_len < wheels_per_side*2) return 1;
	printf("====WHEEL SPEEDS====\n");
	for (int i = 0; i < wheels_per_side; i++) {
		printf("left: %.2f right: %.2f\n", *(velocity_buffer + i),
		       *(velocity_buffer + wheels_per_side + i));
	}
	printf("====================\n");
	return 0;
}
int main(void)
{
	printf("Starting software drive test...\n");
	struct DiffDriveConfig drive_config = {.wheel_separation = 0.4f,
					       .wheel_separation_multiplier = 1,
					       .wheel_radius = 1,
					       .wheels_per_side = 2,
					       .left_wheel_radius_multiplier = 1,
					       .right_wheel_radius_multiplier = 1,
					       .update_type = POSITION_FEEDBACK};
	struct DiffDrive* drive = diffdrive_init(&drive_config, feedback_callback, velocity_callback);
	for (int i = 0; i < 10; i++) {
	  struct DiffDriveTwist cmd = {.linear_x = i, .angular_z = 0};
	  diffdrive_update(drive, cmd, 2);
	  k_msleep(300);
	  struct DiffDriveStatus status = diffdrive_status(drive);
	  printf("Position: %.2f, %.2f\n", status.x, status.y);
	}
}
```
